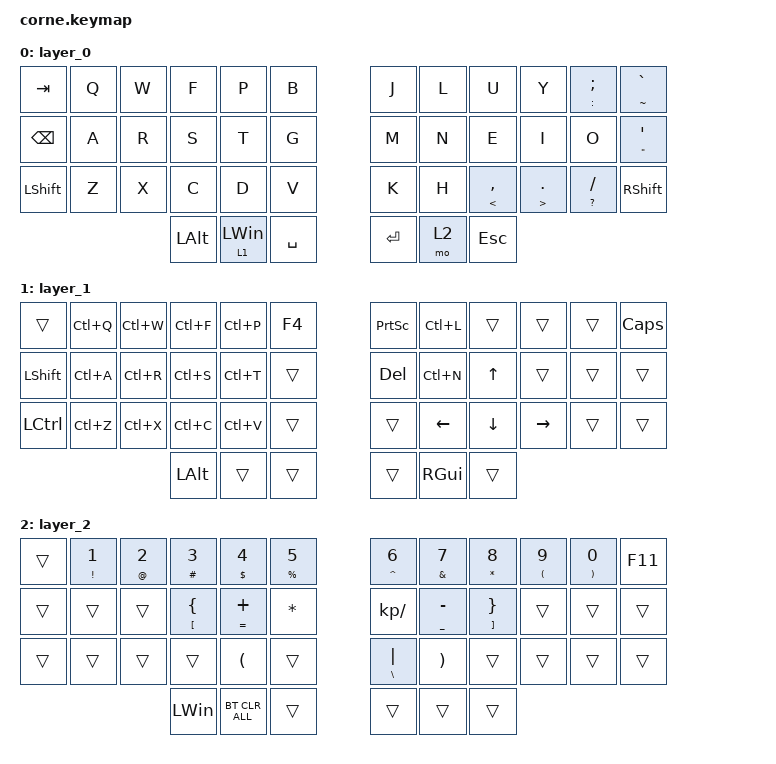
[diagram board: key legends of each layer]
/*
 * Copyright (c) 2020 The ZMK Contributors
 *
 * SPDX-License-Identifier: MIT
 */

#include <behaviors.dtsi>
#include <dt-bindings/zmk/bt.h>
#include <dt-bindings/zmk/keys.h>

/ {
    keymap {
        compatible = "zmk,keymap";

        layer_0 {
            bindings = <
&kp TAB         &kp Q  &kp W  &kp F         &kp P       &kp B        &kp J    &kp L  &kp U                &kp Y                 &mt COLON SEMI      &mt TILDE GRAVE
&kp BSPC        &kp A  &kp R  &kp S         &kp T       &kp G        &kp M    &kp N  &kp E                &kp I                 &kp O               &mt DOUBLE_QUOTES SINGLE_QUOTE
&kp LEFT_SHIFT  &kp Z  &kp X  &kp C         &kp D       &kp V        &kp K    &kp H  &mt LESS_THAN COMMA  &mt GREATER_THAN DOT  &mt QUESTION SLASH  &kp RSHFT
                              &kp LEFT_ALT  &lt 1 LWIN  &kp SPACE    &kp RET  &mo 2  &kp ESC
            >;
        };

        layer_1 {
            bindings = <
&trans      &kp LC(Q)  &kp LC(W)  &kp LC(F)     &kp LC(P)  &kp F4    &kp PRINTSCREEN  &kp LC(L)      &trans        &trans     &trans  &kp CAPS
&kp LSHIFT  &kp LC(A)  &kp LC(R)  &kp LC(S)     &kp LC(T)  &trans    &kp DEL          &kp LC(N)      &kp UP_ARROW  &trans     &trans  &trans
&kp LCTRL   &kp LC(Z)  &kp LC(X)  &kp LC(C)     &kp LC(V)  &trans    &trans           &kp LEFT       &kp DOWN      &kp RIGHT  &trans  &trans
                                  &kp LEFT_ALT  &trans     &trans    &trans           &kp RIGHT_GUI  &trans
            >;
        };

        layer_2 {
            bindings = <
&trans  &mt EXCLAMATION N1  &mt AT N2  &mt HASH N3                  &mt DOLLAR N4         &mt PERCENT N5    &mt CARET N6        &mt AMPS N7            &mt ASTERISK N8                &mt LEFT_PARENTHESIS N9  &mt RIGHT_PARENTHESIS N0  &kp F11
&trans  &trans              &trans     &mt LEFT_BRACKET LEFT_BRACE  &mt EQUAL PLUS        &kp ASTRK         &kp KP_DIVIDE       &mt UNDER MINUS        &mt RIGHT_BRACKET RIGHT_BRACE  &trans                   &trans                    &trans
&trans  &trans              &trans     &trans                       &kp LEFT_PARENTHESIS  &trans            &mt BACKSLASH PIPE  &kp RIGHT_PARENTHESIS  &trans                         &trans                   &trans                    &trans
                                       &kp LWIN                     &bt BT_CLR_ALL        &trans            &trans              &trans                 &trans
            >;
        };
    };
};

